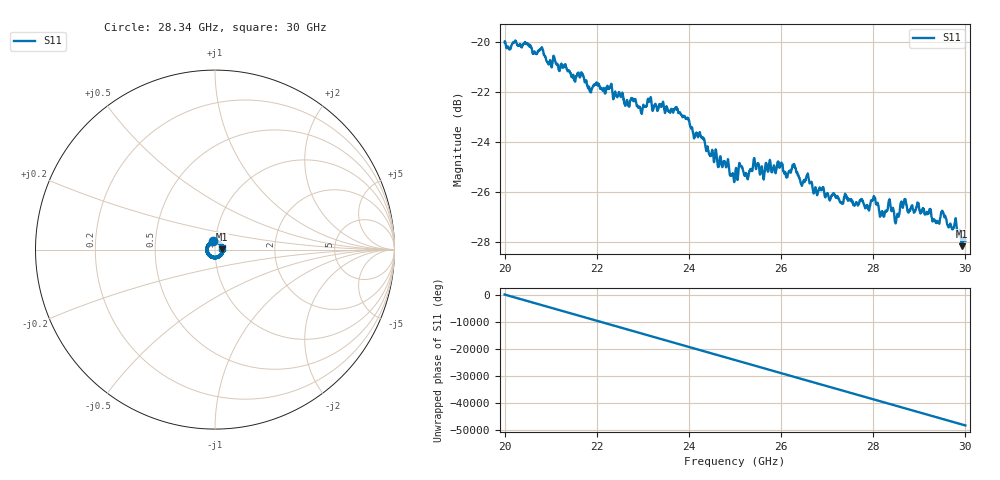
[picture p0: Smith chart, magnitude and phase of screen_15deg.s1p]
#  HZ  S  RI  R  50.00
! Rohde & Schwarz ZVA40 4Ports - Version 3.90 - 1145.1110k42 SN: 100403
! Date: 2023-09-28 10:45:12
! Measurement: S12
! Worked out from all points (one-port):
!   5001 points, 20 GHz to 30 GHz, reference 50 ohm
!   lowest |S11| = -28.2 dB at 29.92 GHz (marker M1), VSWR 1.08, Z = 54.1 + j0.231 ohm
!   |S11| at or under -10 dB: start of sweep to end of sweep
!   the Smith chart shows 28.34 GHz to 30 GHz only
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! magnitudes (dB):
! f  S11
! 20 GHz  -20.0
! 20.47 GHz  -20.1
! 21.25 GHz  -21.0
! 21.68 GHz  -21.2
! 21.85 GHz  -22.0
! 22.5 GHz  -22.1
! 22.95 GHz  -22.6
! 23.14 GHz  -22.4
! 23.75 GHz  -22.7
! 25 GHz  -25.4
! 25.12 GHz  -25.0
! 25.25 GHz  -25.3
! 25.45 GHz  -25.0
! 25.58 GHz  -25.0
! 26.25 GHz  -24.9
! 26.74 GHz  -25.8
! 27.5 GHz  -26.3
! 27.87 GHz  -26.5
! 28 GHz  -26.3
! 28.19 GHz  -26.8
! 28.37 GHz  -26.5
! 28.51 GHz  -27.0
! 28.65 GHz  -26.6
! 28.75 GHz  -26.8
! 29.39 GHz  -27.2
! 29.52 GHz  -26.8
! 29.92 GHz  -28.2
! 30 GHz  -27.9
